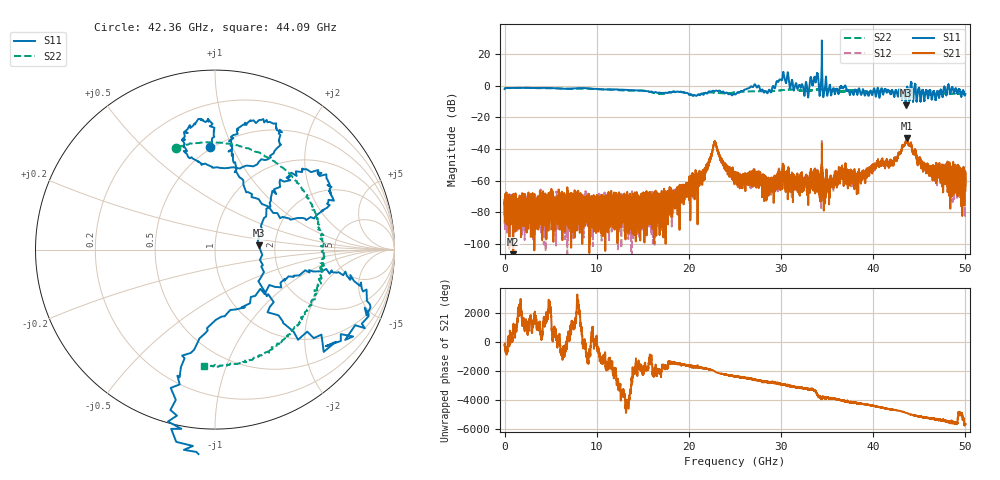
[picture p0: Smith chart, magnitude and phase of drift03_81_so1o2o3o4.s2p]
!Created with skrf (http://scikit-rf.org).
# Hz S RI R 50.0
!freq ReS11 ImS11 ReS21 ImS21 ReS12 ImS12 ReS22 ImS22
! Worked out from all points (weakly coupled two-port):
!   10000 points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, 5.3 MHz to 50 GHz, reference 50 ohm
!   highest |S21| = -33.08 dB at 43.64 GHz (marker M1); lowest = -110.1 dB at 940.3 MHz (marker M2)
!   lowest |S11| = -12.3 dB at 43.52 GHz (marker M3), VSWR 1.64, Z = 81.9 + j3.98 ohm
!   |S11| at or under -10 dB: 43.48112 GHz to 43.55668 GHz (75.56 MHz wide, 0.174 % of centre); 44.31224 GHz to 44.31677 GHz (4.529 MHz wide, 0.0102 % of centre); 44.70911 GHz to 44.71059 GHz (1.476 MHz wide, 0.0033 % of centre) (the widest 3 of 4)
!   |S22| runs from -5.9 to -1.3 dB; largest |S21 - S12| = 0.0075
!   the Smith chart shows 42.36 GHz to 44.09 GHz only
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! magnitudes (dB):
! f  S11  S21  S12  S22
! 5.3 MHz  -2.1  -74.4  -82.5  -2.1
! 940.3 MHz  -1.4  -110.1  -85.9  -1.5
! 8.34 GHz  -1.5  -79.8  -74.5  -1.9
! 16.67 GHz  -4.4  -77.3  -70.8  -5.2
! 21.05 GHz  -5.7  -58.5  -55.9  -5.5
! 22.81 GHz  -3.4  -35.5  -35.2  -4.5
! 25.01 GHz  -5.5  -56.2  -59.4  -4.2
! 27.02 GHz  -0.4  -59.5  -55.5  -3.5
! 28.85 GHz  -3.8  -64.2  -64.8  -3.5
! 30.14 GHz  4.4  -58.4  -54.4  -2.7
! 32.74 GHz  2.0  -59.7  -58.9  -3.3
! 33.34 GHz  2.6  -58.6  -58.9  -2.9
! 33.82 GHz  4.3  -61.4  -60.4  -2.5
! 34.85 GHz  4.3  -64.9  -63.0  -2.3
! 36.45 GHz  -0.6  -55.4  -56.3  -3.8
! 38.47 GHz  -1.6  -57.4  -56.8  -3.0
! 41.67 GHz  -3.0  -50.3  -49.7  -3.6
! 43.52 GHz  -12.3  -35.7  -36.0  -4.2
! 43.64 GHz  -1.6  -33.1  -33.2  -4.0
! 46.24 GHz  -4.2  -53.5  -53.7  -5.4
! 49.18 GHz  -4.7  -49.9  -57.7  -5.1
! 50 GHz  -5.3  -66.2  -60.4  -5.0
